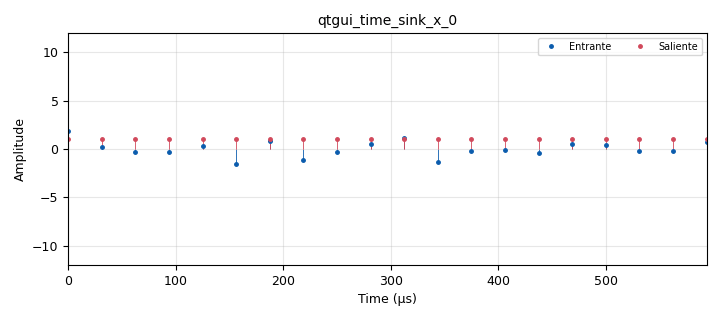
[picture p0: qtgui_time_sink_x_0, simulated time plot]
options:
  parameters:
    author: Bryan
    copyright: UIS
    description: ejemplo de un acumulador
    generate_options: qt_gui
    id: miprimer
    output_language: python
    title: miprimer
  states: {}

blocks:
- name: samp_rate
  id: variable
  parameters:
    value: '32000'
  states: {}
- name: analog_noise_source_x_0
  id: analog_noise_source_x
  parameters:
    amp: '1'
    noise_type: analog.GR_GAUSSIAN
    seed: '0'
    type: float
  states: {}
- name: blocks_multiply_xx_0
  id: blocks_multiply_xx
  parameters:
    type: float
  states: {}
- name: blocks_rms_xx_0
  id: blocks_rms_xx
  parameters:
    alpha: '0.0001'
    type: float
  states: {}
- name: blocks_vector_source_x_0
  id: blocks_vector_source_x
  parameters:
    repeat: 'True'
    type: float
    vector: (1, 4, -2, -3)
  states: {state: disabled}
- name: epy_block_0
  id: epy_block
  parameters:
    _source_code: "import numpy as np\nfrom gnuradio import gr\n\n\nclass blk(gr.sync_block):  \n    \n\n    def __init__(self,):  \n        \"\"\"Bloque Promediador \"\"\"\n        gr.sync_block.__init__(\n            self,\n            name='Time Average',   \n            in_sig=[np.float32],\n            out_sig=[np.float32]\n        )\n        self.acum_anterior=0\n        self.Ntotales=0\n        \n    def work(self, input_items, output_items):\n        x=input_items[0]\n        N=len(x)\n        self.Ntotales += N\n        y=output_items[0]\n        Acumulado=self.acum_anterior+np.cumsum(x)\n        self.acum_anterior=Acumulado[-1]\n        y[:]=Acumulado/self.Ntotales\n        \n        return len(x)\n        \n\n"
  states: {}
- name: epy_block_0_0
  id: epy_block
  parameters:
    _source_code: "import numpy as np\nfrom gnuradio import gr\n\n\nclass blk(gr.sync_block):  \n    \n\n    def __init__(self,):  \n        \"\"\"Bloque sqrtr \"\"\"\n        gr.sync_block.__init__(\n            self,\n            name='sqrt',   \n            in_sig=[np.float32],\n            out_sig=[np.float32]\n        )\n        \n        \n    def work(self, input_items, output_items):\n        x=input_items[0]\n        y=output_items[0]\n        y[:]=np.sqrt(x)\n        \n        return len(x)\n        \n\n"
  states: {}
- name: qtgui_number_sink_0
  id: qtgui_number_sink
  parameters:
    graph_type: qtgui.NUM_GRAPH_HORIZ
    name: '"la media"'
    type: float
  states: {}
- name: qtgui_number_sink_0_0
  id: qtgui_number_sink
  parameters:
    graph_type: qtgui.NUM_GRAPH_HORIZ
    name: '"la media"'
    type: float
  states: {}
- name: qtgui_time_sink_x_0
  id: qtgui_time_sink_x
  parameters:
    label1: Entrante
    label2: Saliente
    marker1: '0'
    marker2: '2'
    nconnections: '2'
    size: '20'
    srate: samp_rate
    stemplot: 'True'
    type: float
    width1: '4'
    width2: '2'
    ymax: '12'
    ymin: '-12'
  states: {}

connections:
- [analog_noise_source_x_0, '0', blocks_multiply_xx_0, '0']
- [analog_noise_source_x_0, '0', blocks_multiply_xx_0, '1']
- [analog_noise_source_x_0, '0', blocks_rms_xx_0, '0']
- [analog_noise_source_x_0, '0', qtgui_time_sink_x_0, '0']
- [blocks_multiply_xx_0, '0', epy_block_0, '0']
- [blocks_rms_xx_0, '0', qtgui_number_sink_0_0, '0']
- [blocks_vector_source_x_0, '0', epy_block_0, '0']
- [blocks_vector_source_x_0, '0', qtgui_time_sink_x_0, '0']
- [epy_block_0, '0', epy_block_0_0, '0']
- [epy_block_0_0, '0', qtgui_number_sink_0, '0']
- [epy_block_0_0, '0', qtgui_time_sink_x_0, '1']

metadata:
  file_format: 1
